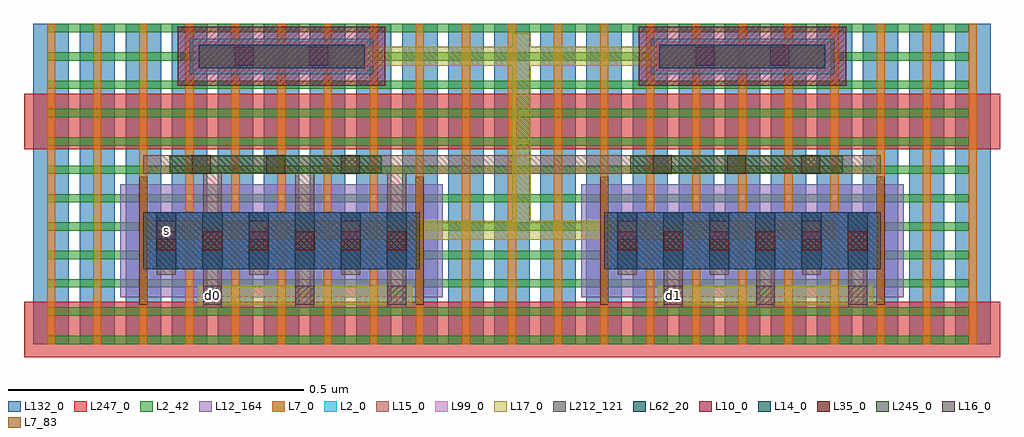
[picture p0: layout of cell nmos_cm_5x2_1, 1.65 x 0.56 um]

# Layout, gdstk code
import gdstk
lib = gdstk.Library(unit=1e-6, precision=1e-12)
def R(c, l, rs):  # rectangles x0, y0, x1, y1
    for r in rs: c.add(gdstk.rectangle(r[:2], r[2:], *l))
def A(c, l, x, y, w, h, nx, ny, dx, dy):  # array of equal rectangles
    R(c, l, [(x+i*dx, y+j*dy, x+i*dx+w, y+j*dy+h) for i in range(nx) for j in range(ny)])
L2_0 = (2, 0)
L2_42 = (2, 42)
L7_0 = (7, 0)
L7_83 = (7, 83)
L10_0 = (10, 0)
L12_164 = (12, 164)
L14_0 = (14, 0)
L15_0 = (15, 0)
L16_0 = (16, 0)
L17_0 = (17, 0)
L35_0 = (35, 0)
L62_20 = (62, 20)
L99_0 = (99, 0)
L132_0 = (132, 0)
L212_121 = (212, 121)
L245_0 = (245, 0)
L247_0 = (247, 0)

nmos_cm_5x2_1 = lib.new_cell('nmos_cm_5x2_1')
R(nmos_cm_5x2_1, L2_0, [(0.186,0.127,0.654,0.223), (0.966,0.127,1.434,0.223), (0.2645,0.457,0.5755,0.517), (1.0445,0.457,1.3555,0.517)])
A(nmos_cm_5x2_1, L2_42, 0.023, 0, 1.56, 0.014, 1, 12, 0, 0.048)
A(nmos_cm_5x2_1, L7_0, 0.023, 0, 0.014, 0.542, 21, 1, 0.078, 0)
R(nmos_cm_5x2_1, L7_83, [(0.179,0.067,0.193,0.283), (0.647,0.067,0.661,0.283), (0.959,0.067,0.973,0.283), (1.427,0.067,1.441,0.283)])
R(nmos_cm_5x2_1, L10_0, [(0.2445,0.437,0.5955,0.537), (1.0245,0.437,1.3755,0.537)])
R(nmos_cm_5x2_1, L12_164, [(0.147,0.079,0.693,0.271), (0.927,0.079,1.473,0.271)])
A(nmos_cm_5x2_1, L14_0, 0.208, 0.127, 0.034, 0.096, 6, 1, 0.078, 0)
A(nmos_cm_5x2_1, L14_0, 0.988, 0.127, 0.034, 0.096, 6, 1, 0.078, 0)
R(nmos_cm_5x2_1, L14_0, [(0.2795,0.467,0.5605,0.507), (1.0595,0.467,1.3405,0.507)])
A(nmos_cm_5x2_1, L15_0, 0.287, 0.062, 0.032, 0.06, 3, 1, 0.156, 0)
A(nmos_cm_5x2_1, L15_0, 1.067, 0.062, 0.032, 0.06, 3, 1, 0.156, 0)
A(nmos_cm_5x2_1, L15_0, 0.209, 0.117, 0.032, 0.106, 6, 1, 0.078, 0)
A(nmos_cm_5x2_1, L15_0, 0.989, 0.117, 0.032, 0.106, 6, 1, 0.078, 0)
A(nmos_cm_5x2_1, L15_0, 0.287, 0.223, 0.032, 0.097, 3, 1, 0.156, 0)
A(nmos_cm_5x2_1, L15_0, 0.186, 0.288, 0.468, 0.032, 3, 1, 0.39, 0)
R(nmos_cm_5x2_1, L15_0, [(0.2795,0.471,0.5605,0.503), (1.0595,0.471,1.3405,0.503)])
A(nmos_cm_5x2_1, L16_0, 0.287, 0.067, 0.032, 0.032, 3, 1, 0.156, 0)
A(nmos_cm_5x2_1, L16_0, 1.067, 0.067, 0.032, 0.032, 3, 1, 0.156, 0)
A(nmos_cm_5x2_1, L16_0, 0.209, 0.177, 0.032, 0.032, 3, 1, 0.156, 0)
A(nmos_cm_5x2_1, L16_0, 0.989, 0.177, 0.032, 0.032, 3, 1, 0.156, 0)
R(nmos_cm_5x2_1, L16_0, [(0.341,0.471,0.373,0.503), (0.467,0.471,0.499,0.503), (1.121,0.471,1.153,0.503), (1.247,0.471,1.279,0.503)])
R(nmos_cm_5x2_1, L17_0, [(0.277,0.067,0.641,0.099), (1.057,0.067,1.421,0.099), (0.186,0.177,0.576,0.209), (0.576,0.177,1.044,0.209), (0.81,0.177,0.842,0.526), (0.966,0.177,1.356,0.209), (0.2795,0.471,0.5605,0.503), (0.42,0.471,1.2,0.503), (1.0595,0.471,1.3405,0.503)])
A(nmos_cm_5x2_1, L35_0, 0.209, 0.159, 0.032, 0.032, 6, 1, 0.078, 0)
A(nmos_cm_5x2_1, L35_0, 0.989, 0.159, 0.032, 0.032, 6, 1, 0.078, 0)
A(nmos_cm_5x2_1, L35_0, 0.268, 0.288, 0.032, 0.032, 3, 1, 0.126, 0)
A(nmos_cm_5x2_1, L35_0, 1.048, 0.288, 0.032, 0.032, 3, 1, 0.126, 0)
R(nmos_cm_5x2_1, L35_0, [(0.341,0.471,0.373,0.503), (0.467,0.471,0.499,0.503), (1.121,0.471,1.153,0.503), (1.247,0.471,1.279,0.503)])
R(nmos_cm_5x2_1, L62_20, [(0.186,0.127,0.654,0.223), (0.966,0.127,1.434,0.223)])
R(nmos_cm_5x2_1, L99_0, [(0.186,0.127,0.654,0.223), (0.966,0.127,1.434,0.223), (0.2745,0.462,0.5655,0.512), (1.0545,0.462,1.3455,0.512)])
A(nmos_cm_5x2_1, L132_0, 0, 0, 0.06, 0.542, 21, 1, 0.078, 0)
R(nmos_cm_5x2_1, L212_121, [(0.186,0.127,0.654,0.223), (0.966,0.127,1.434,0.223)])
R(nmos_cm_5x2_1, L245_0, [(0.2305,0.289,0.5895,0.319), (1.0105,0.289,1.3695,0.319)])
R(nmos_cm_5x2_1, L247_0, [(-0.016,-0.022,0.856,0.072), (0.764,-0.022,1.636,0.072), (-0.016,0.33,0.856,0.424), (0.764,0.33,1.636,0.424)])
nmos_cm_5x2_1.add(gdstk.Label('d0', (0.303,0.083), layer=15, texttype=20))
nmos_cm_5x2_1.add(gdstk.Label('d1', (1.083,0.083), layer=15, texttype=20))
nmos_cm_5x2_1.add(gdstk.Label('s', (0.225,0.193), layer=15, texttype=20))

lib.write_gds('nmos_cm_5x2_1.gds')
